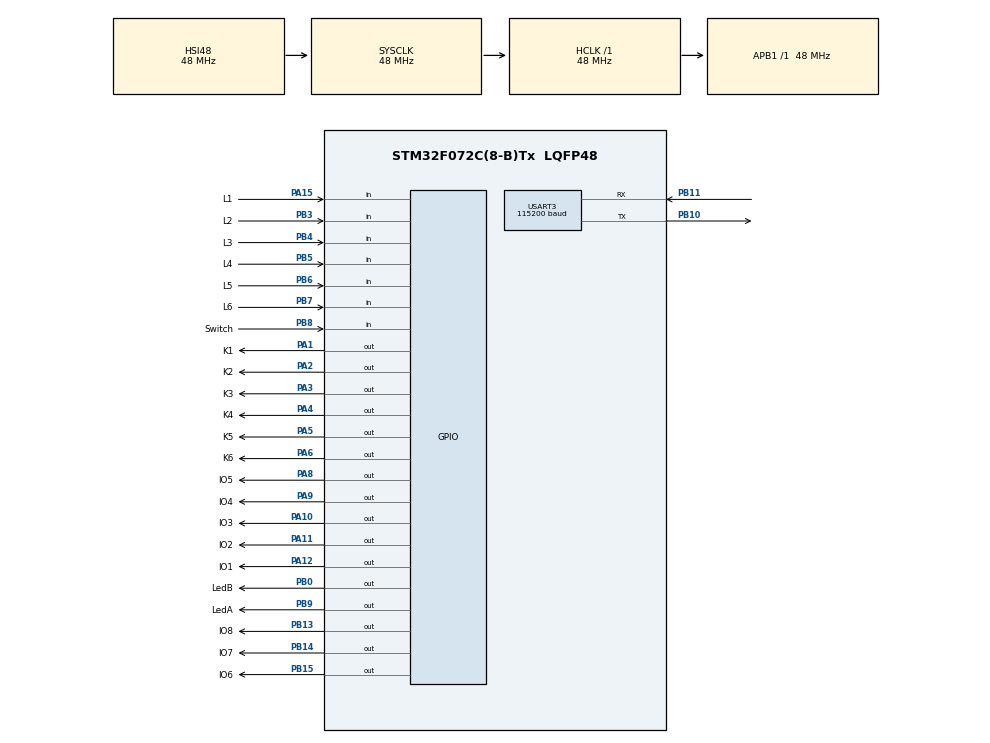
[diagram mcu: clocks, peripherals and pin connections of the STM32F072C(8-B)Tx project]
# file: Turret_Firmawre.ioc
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Mcu.Family=STM32F0
Mcu.Name=STM32F072C(8-B)Tx
Mcu.Package=LQFP48
NVIC.USART3_4_IRQn=true\:0\:0\:false\:false\:true\:true\:true\:true
PA1.GPIO_Label=K1
PA1.Signal=GPIO_Output
PA10.GPIO_Label=IO3
PA10.Signal=GPIO_Output
PA11.GPIO_Label=IO2
PA11.Signal=GPIO_Output
PA12.GPIO_Label=IO1
PA12.Signal=GPIO_Output
PA15.GPIO_Label=L1
PA15.GPIO_PuPd=GPIO_PULLDOWN
PA15.Signal=GPIO_Input
PA2.GPIO_Label=K2
PA2.Signal=GPIO_Output
PA3.GPIO_Label=K3
PA3.Signal=GPIO_Output
PA4.GPIO_Label=K4
PA4.Signal=GPIO_Output
PA5.GPIO_Label=K5
PA5.Signal=GPIO_Output
PA6.GPIO_Label=K6
PA6.Signal=GPIO_Output
PA8.GPIO_Label=IO5
PA8.Signal=GPIO_Output
PA9.GPIO_Label=IO4
PA9.Signal=GPIO_Output
PB0.GPIO_Label=LedB
PB0.Signal=GPIO_Output
PB10.Mode=Asynchronous
PB10.Signal=USART3_TX
PB11.Mode=Asynchronous
PB11.Signal=USART3_RX
PB13.GPIO_Label=IO8
PB13.Signal=GPIO_Output
PB14.GPIO_Label=IO7
PB14.Signal=GPIO_Output
PB15.GPIO_Label=IO6
PB15.Signal=GPIO_Output
PB3.GPIO_Label=L2
PB3.GPIO_PuPd=GPIO_PULLDOWN
PB3.Signal=GPIO_Input
PB4.GPIO_Label=L3
PB4.GPIO_PuPd=GPIO_PULLDOWN
PB4.Signal=GPIO_Input
PB5.GPIO_Label=L4
PB5.GPIO_PuPd=GPIO_PULLDOWN
PB5.Signal=GPIO_Input
PB6.GPIO_Label=L5
PB6.GPIO_PuPd=GPIO_PULLDOWN
PB6.Signal=GPIO_Input
PB7.GPIO_Label=L6
PB7.GPIO_PuPd=GPIO_PULLDOWN
PB7.Signal=GPIO_Input
PB8.GPIO_Label=Switch
PB8.GPIO_PuPd=GPIO_PULLDOWN
PB8.Signal=GPIO_Input
PB9.GPIO_Label=LedA
PB9.Signal=GPIO_Output
PC14-OSC32_IN.Mode=LSE-External-Oscillator
PC14-OSC32_IN.Signal=RCC_OSC32_IN
PC15-OSC32_OUT.Mode=LSE-External-Oscillator
PC15-OSC32_OUT.Signal=RCC_OSC32_OUT
ProjectManager.HeapSize=0x200
ProjectManager.StackSize=0x400
ProjectManager.TargetToolchain=STM32CubeIDE
RCC.AHBFreq_Value=48000000
RCC.APB1Freq_Value=48000000
RCC.APB1TimFreq_Value=48000000
RCC.HCLKFreq_Value=48000000
RCC.SYSCLKFreq_VALUE=48000000
RCC.SYSCLKSource=RCC_SYSCLKSOURCE_HSI48
USART3.BaudRate=115200
USART3.VirtualMode-Asynchronous=VM_ASYNC
board=custom

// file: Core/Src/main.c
/* USER CODE BEGIN Header */
/**
  ******************************************************************************
  * @file           : main.c
  * @brief          : Main program body
  ******************************************************************************
  * @attention
  *
  * Copyright (c) 2025 STMicroelectronics.
  * All rights reserved.
  *
  * This software is licensed under terms that can be found in the LICENSE file
  * in the root directory of this software component.
  * If no LICENSE file comes with this software, it is provided AS-IS.
  *
  ******************************************************************************
  */
/* USER CODE END Header */
#include "main.h"
#include "usart.h"
#include "gpio.h"

/* USER CODE BEGIN Includes */
#include "esp32_link.h"
/* USER CODE END Includes */

/* USER CODE BEGIN PV */

STM_PinDef myOutputs[] = {
    {K1_GPIO_Port, K1_Pin},
    {K2_GPIO_Port, K2_Pin},
    {K3_GPIO_Port, K3_Pin},
	{K4_GPIO_Port, K4_Pin},
	{K5_GPIO_Port, K5_Pin},
	{K6_GPIO_Port, K6_Pin},

	{LedA_GPIO_Port, LedA_Pin},
	{LedB_GPIO_Port, LedB_Pin},

	{IO1_GPIO_Port, IO1_Pin},
	{IO2_GPIO_Port, IO2_Pin},
	{IO3_GPIO_Port, IO3_Pin},
	{IO4_GPIO_Port, IO4_Pin},
	{IO5_GPIO_Port, IO5_Pin},
	{IO6_GPIO_Port, IO6_Pin},
	{IO7_GPIO_Port, IO7_Pin},
	{IO8_GPIO_Port, IO8_Pin},

    // add as many as you want
};

STM_PinDef myInputs[] = {
    {L1_GPIO_Port, L1_Pin},
    {L2_GPIO_Port, L2_Pin},
    {L3_GPIO_Port, L3_Pin},
	{L4_GPIO_Port, L4_Pin},
	{L5_GPIO_Port, L5_Pin},
	{L6_GPIO_Port, L6_Pin},
	{Switch_GPIO_Port, Switch_Pin},
    // add as many as you want
};

/* USER CODE END PV */

void SystemClock_Config(void);

int main(void)
{

  /* MCU Configuration--------------------------------------------------------*/

  /* Reset of all peripherals, Initializes the Flash interface and the Systick. */
  HAL_Init();

  /* Configure the system clock */
  SystemClock_Config();

  /* Initialize all configured peripherals */
  MX_GPIO_Init();
  MX_USART3_UART_Init();
  /* USER CODE BEGIN 2 */
  // Choose which UART to use:
  STM_SetUART(&huart3);

  // Set your outputs and inputs
  STM_SetOutputPins(myOutputs, sizeof(myOutputs)/sizeof(myOutputs[0]));
  STM_SetInputPins(myInputs, sizeof(myInputs)/sizeof(myInputs[0]));
  /* USER CODE END 2 */

  /* Infinite loop */
  /* USER CODE BEGIN WHILE */
  while (1)
  {
    STM_ProcessIncoming(); // read relay data and update outputs
	STM_SendInputs();      // read input pins and send state
    /* USER CODE END WHILE */

  }
}

void SystemClock_Config(void)
{
  RCC_OscInitTypeDef RCC_OscInitStruct = {0};
  RCC_ClkInitTypeDef RCC_ClkInitStruct = {0};

  /** Initializes the RCC Oscillators according to the specified parameters
  * in the RCC_OscInitTypeDef structure.
  */
  RCC_OscInitStruct.OscillatorType = RCC_OSCILLATORTYPE_HSI48;
  RCC_OscInitStruct.HSI48State = RCC_HSI48_ON;
  RCC_OscInitStruct.PLL.PLLState = RCC_PLL_NONE;
  if (HAL_RCC_OscConfig(&RCC_OscInitStruct) != HAL_OK)
  {
    Error_Handler();
  }

  /** Initializes the CPU, AHB and APB buses clocks
  */
  RCC_ClkInitStruct.ClockType = RCC_CLOCKTYPE_HCLK|RCC_CLOCKTYPE_SYSCLK
                              |RCC_CLOCKTYPE_PCLK1;
  RCC_ClkInitStruct.SYSCLKSource = RCC_SYSCLKSOURCE_HSI48;
  RCC_ClkInitStruct.AHBCLKDivider = RCC_SYSCLK_DIV1;
  RCC_ClkInitStruct.APB1CLKDivider = RCC_HCLK_DIV1;

  if (HAL_RCC_ClockConfig(&RCC_ClkInitStruct, FLASH_LATENCY_1) != HAL_OK)
  {
    Error_Handler();
  }
}

void Error_Handler(void)
{
  __disable_irq();
  while (1)
  {
  }
}
